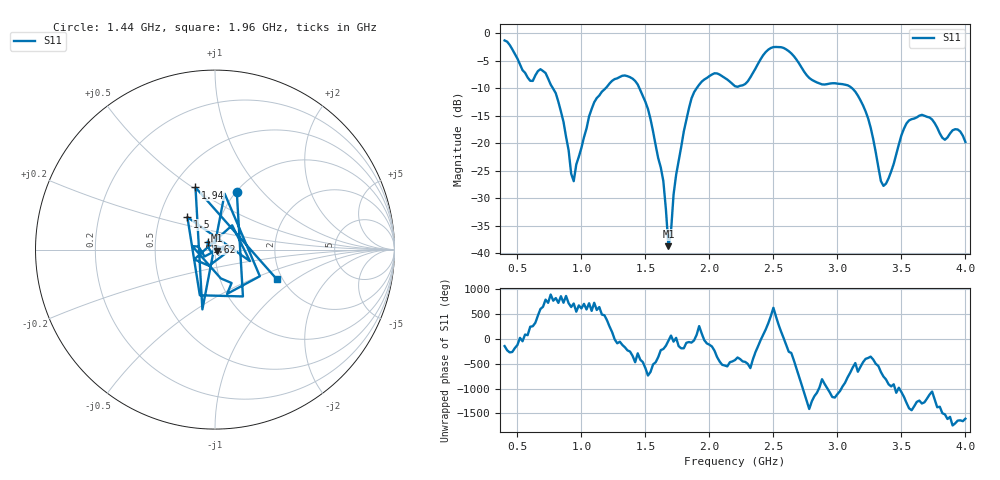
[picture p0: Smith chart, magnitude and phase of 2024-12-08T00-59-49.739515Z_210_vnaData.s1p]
!Created with skrf (http://scikit-rf.org).
# Hz S RI R 50.0
!freq ReS11 ImS11
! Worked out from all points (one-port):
!   181 points, 400 MHz to 4 GHz, reference 50 ohm
!   lowest |S11| = -38.7 dB at 1.68 GHz (marker M1), VSWR 1.02, Z = 50.9 - j0.694 ohm
!   |S11| at or under -10 dB: 777.5 MHz to 1.189 GHz (411 MHz wide, 41.8 % of centre); 1.453 GHz to 1.9 GHz (446.7 MHz wide, 26.6 % of centre); 3.115 GHz to end of sweep
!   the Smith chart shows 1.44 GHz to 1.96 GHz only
!   S11 on the Smith chart (normalised r, x): 1.44 GHz: 1.01, +0.73; 1.5 GHz: 0.69, +0.27; 1.62 GHz: 0.92, +0.08; 1.94 GHz: 0.64, +0.51; 1.96 GHz: 1.87, -0.71
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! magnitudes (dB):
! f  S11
! 400 MHz  -1.3
! 600 MHz  -8.6
! 720 MHz  -7.2
! 860 MHz  -16.1
! 940 MHz  -26.9
! 1.1 GHz  -12.5
! 1.3 GHz  -7.9
! 1.44 GHz  -9.3
! 1.5 GHz  -12.5
! 1.62 GHz  -24.4
! 1.64 GHz  -26.9
! 1.68 GHz  -38.7
! 1.76 GHz  -23.2
! 1.86 GHz  -11.9
! 1.94 GHz  -8.8
! 1.96 GHz  -8.4
! 2.2 GHz  -9.6
! 2.48 GHz  -2.7
! 2.66 GHz  -4.2
! 2.82 GHz  -8.7
! 3.1 GHz  -9.7
! 3.24 GHz  -15.5
! 3.36 GHz  -27.7
! 3.56 GHz  -15.8
! 3.72 GHz  -15.3
! 3.84 GHz  -19.4
! 3.92 GHz  -17.4
! 4 GHz  -19.8
